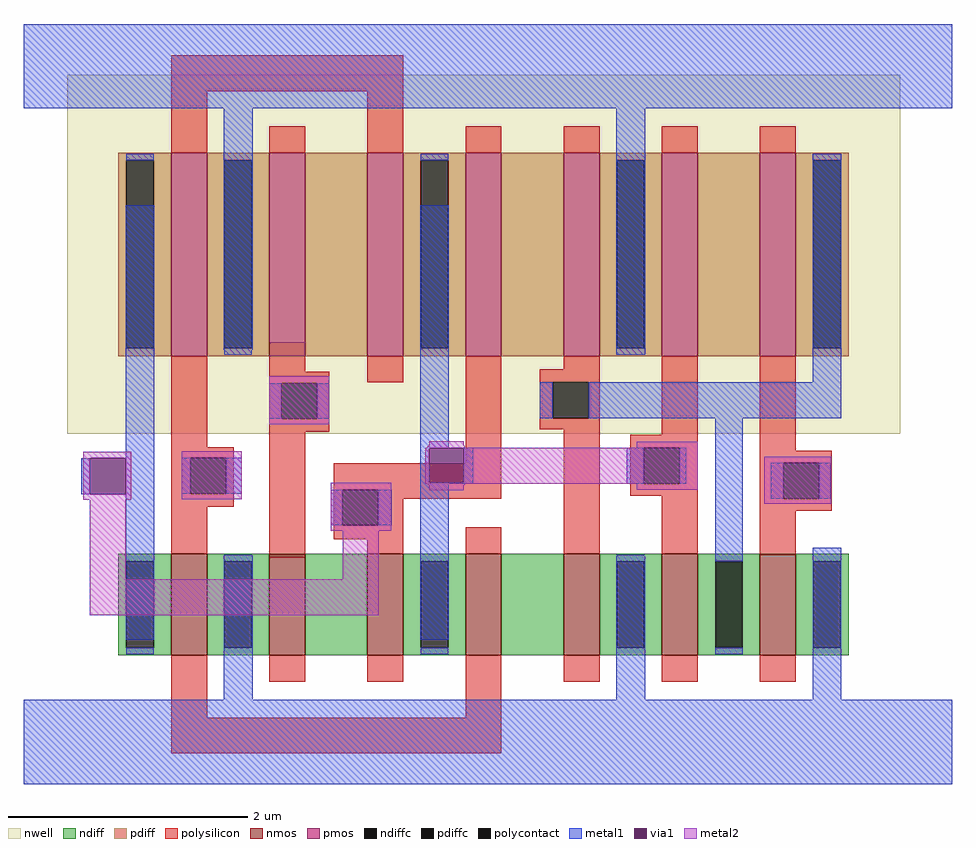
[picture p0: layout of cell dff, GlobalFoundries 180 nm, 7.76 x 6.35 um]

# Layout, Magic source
magic
tech gf180mcuD
magscale 1 10
<< nwell >>
rect 1308 188 1366 200
<< ndiffc >>
rect 1155 -195 1201 -51
<< polysilicon >>
rect 246 735 634 795
rect 246 675 306 735
rect 574 676 634 735
rect 246 140 306 267
rect 410 266 470 315
rect 410 247 510 266
rect 410 187 430 247
rect 490 187 510 247
rect 410 166 510 187
rect 246 122 351 140
rect 246 62 278 122
rect 338 62 351 122
rect 246 40 351 62
rect 246 -18 306 40
rect 410 -45 470 166
rect 738 113 798 269
rect 862 248 962 270
rect 862 188 884 248
rect 944 188 962 248
rect 862 170 962 188
rect 518 69 798 113
rect 518 9 532 69
rect 592 54 798 69
rect 592 9 634 54
rect 518 -14 634 9
rect 902 6 962 170
rect 1066 161 1126 255
rect 1013 139 1126 161
rect 1013 79 1036 139
rect 1096 79 1126 139
rect 1013 59 1126 79
rect 1066 0 1126 59
rect 1230 134 1290 255
rect 1230 114 1350 134
rect 1230 54 1269 114
rect 1329 54 1350 114
rect 1230 34 1350 54
rect 1230 -41 1290 34
rect 246 -312 306 -252
rect 738 -312 798 -252
rect 246 -372 798 -312
<< polycontact >>
rect 430 187 490 247
rect 278 62 338 122
rect 884 188 944 248
rect 532 9 592 69
rect 1036 79 1096 139
rect 1269 54 1329 114
<< metal1 >>
rect 0 706 1551 847
rect 96 61 110 121
rect 170 -182 218 544
rect 334 303 382 706
rect 410 187 430 247
rect 490 187 510 247
rect 662 139 710 544
rect 990 294 1038 706
rect 1318 248 1366 630
rect 862 188 884 248
rect 944 188 1366 248
rect 662 138 751 139
rect 264 62 278 122
rect 338 62 364 122
rect 662 80 677 138
rect 735 80 751 138
rect 662 79 751 80
rect 1007 79 1036 139
rect 1096 79 1107 139
rect 513 9 532 69
rect 592 9 615 69
rect 334 -282 382 -41
rect 662 -182 710 79
rect 990 -282 1038 -42
rect 1155 -51 1201 188
rect 1248 54 1269 114
rect 1329 54 1348 114
rect 1155 -206 1201 -195
rect 1318 -282 1366 -28
rect 0 -423 1551 -282
<< via1 >>
rect 110 61 170 121
rect 677 80 735 138
<< metal2 >>
rect 410 178 510 258
rect 677 142 735 150
rect 675 139 737 142
rect 1024 139 1126 149
rect 671 138 1126 139
rect 99 121 179 132
rect 99 61 110 121
rect 170 61 179 121
rect 99 52 179 61
rect 264 53 364 133
rect 671 80 677 138
rect 735 80 1126 138
rect 110 -81 170 52
rect 513 0 614 80
rect 671 79 1126 80
rect 675 77 737 79
rect 677 68 735 77
rect 1024 69 1126 79
rect 1237 45 1349 124
rect 533 -81 593 0
rect 110 -141 593 -81
use nfet_03v3_CWXVHP  nfet_03v3_CWXVHP_0
transform 1 0 768 0 1 -123
box -610 -129 610 129
use pfet_03v3_XSU2S3  pfet_03v3_XSU2S3_0
transform 1 0 768 0 1 462
box -696 -300 696 300
<< end >>

# cell nfet_03v3_CWXVHP: kit device nfet_03v3, w 0.85 l 0.3 m 1 nf 7 diffcov 100 polycov 100 guard 0 glc 0 grc 0 gtc 0 gbc 0 tbcov 100 rlcov 100 topc 0 botc 0 poverlap 0 doverlap 1 lmin 0.28 wmin 0.22 class mosfet full_metal 0 compatible {nfet_03v3 nfet_06v0 nfet_06v0_nvt}

# cell pfet_03v3_XSU2S3: kit device pfet_03v3, w 1.7 l 0.3 m 1 nf 7 diffcov 100 polycov 100 guard 0 glc 0 grc 0 gtc 0 gbc 0 tbcov 100 rlcov 100 topc 0 botc 0 poverlap 0 doverlap 1 lmin 0.28 wmin 0.22 class mosfet full_metal 0 compatible {pfet_03v3 pfet_06v0}
